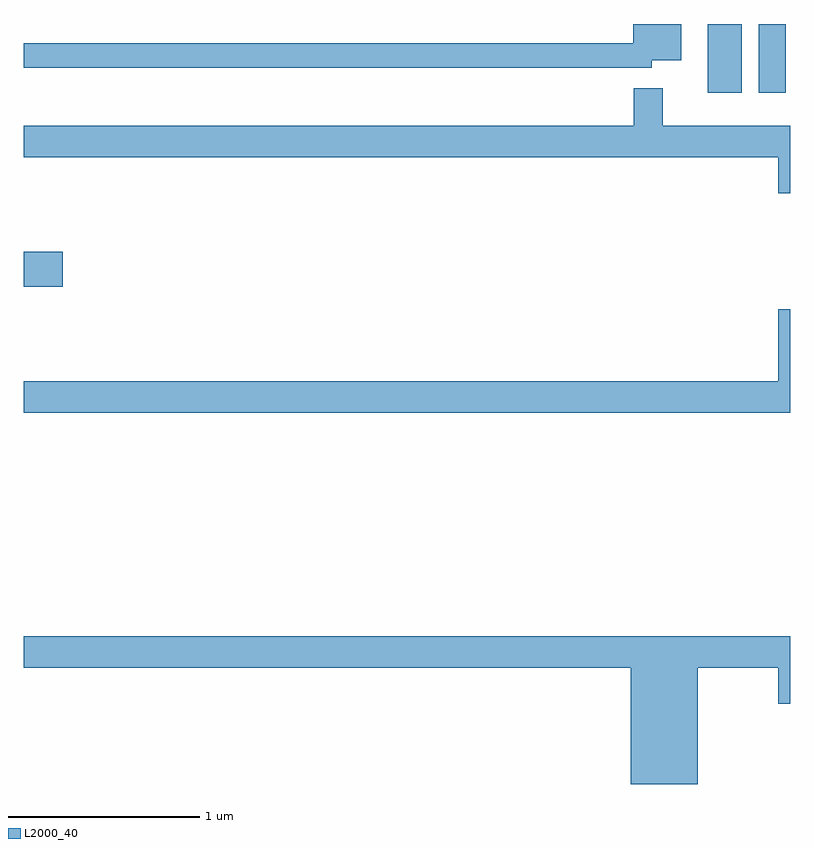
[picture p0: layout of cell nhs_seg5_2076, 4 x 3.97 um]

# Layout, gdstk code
import gdstk
lib = gdstk.Library(unit=1e-6, precision=1e-09)
def R(c, l, rs):  # rectangles x0, y0, x1, y1
    for r in rs: c.add(gdstk.rectangle(r[:2], r[2:], *l))
def P(c, l, *ps):  # polygons
    for p in ps: c.add(gdstk.Polygon(p, *l))
L2000_40 = (2000, 40)

nhs_seg5_2076 = lib.new_cell('nhs_seg5_2076')
R(nhs_seg5_2076, L2000_40, [(233,845.429,233.203,845.612), (236.57,846.44,236.746,846.799), (236.834,846.44,236.977,846.799)])
P(nhs_seg5_2076, L2000_40, [(236.278,846.611),(236.431,846.611),(236.431,846.799),(236.18,846.799),(236.18,846.698),(233,846.698),(233,846.57),(236.278,846.57)],
  [(237,846.268),(236.335,846.268),(236.335,846.463),(236.183,846.463),(236.183,846.268),(233,846.268),(233,846.104),(236.936,846.104),(236.936,845.916),(237,845.916)],
  [(237,845.311),(236.936,845.311),(236.936,844.936),(233,844.936),(233,844.772),(237,844.772)],
  [(233,843.44),(236.168,843.44),(236.168,842.834),(236.518,842.834),(236.518,843.44),(236.936,843.44),(236.936,843.252),(237,843.252),(237,843.604),(233,843.604)])

lib.write_gds('nhs_seg5_2076.gds')
